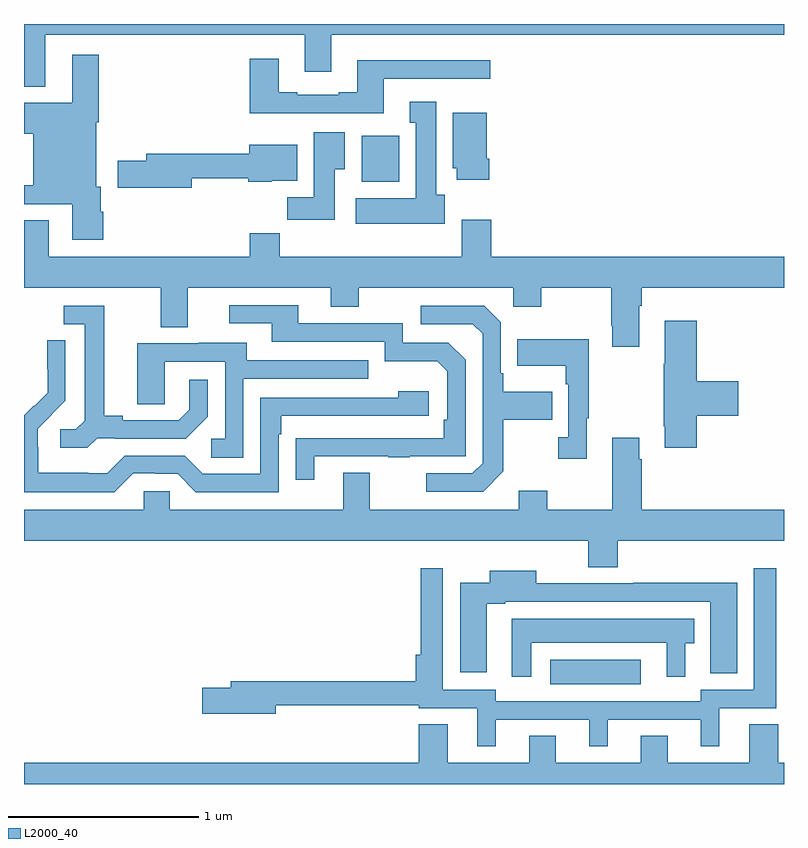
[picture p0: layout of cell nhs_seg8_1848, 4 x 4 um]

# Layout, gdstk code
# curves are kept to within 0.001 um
import gdstk
lib = gdstk.Library(unit=1e-6, precision=1e-09)
def R(c, l, rs):  # rectangles x0, y0, x1, y1
    for r in rs: c.add(gdstk.rectangle(r[:2], r[2:], *l))
def P(c, l, *ps):  # polygons
    for p in ps: c.add(gdstk.Polygon(p, *l))
L2000_40 = (2000, 40)

nhs_seg8_1848 = lib.new_cell('nhs_seg8_1848')
R(nhs_seg8_1848, L2000_40, [(231.771,1102.424,232.246,1102.555), (230.777,1105.07,230.974,1105.312)])
P(nhs_seg8_1848, L2000_40, [(229.111,1105.844),(230.477,1105.844),(230.477,1105.65),(230.617,1105.65),(230.617,1105.844),(233,1105.844),(233,1105.9),(229,1105.9),(229,1105.571),(229.111,1105.571)],
  [(229.418,1104.911),(229.405,1104.911),(229.405,1105.044),(229.381,1105.044),(229.381,1105.382),(229.394,1105.382),(229.394,1105.738),(229.253,1105.738),(229.253,1105.486),(229,1105.486),(229,1105.322),(229.049,1105.322),(229.049,1105.052),(229,1105.052),(229,1104.951),(229.253,1104.951),(229.253,1104.765),(229.418,1104.765)],
  [(230.429,1105.431),(230.893,1105.431),(230.893,1105.611),(231.454,1105.611),(231.454,1105.708),(230.753,1105.708),(230.753,1105.54),(230.657,1105.54),(230.657,1105.527),(230.437,1105.527),(230.437,1105.54),(230.341,1105.54),(230.341,1105.717),(230.189,1105.717),(230.189,1105.43),(230.429,1105.43)],
  [(231.214,1105.002),(231.169,1105.002),(231.169,1105.492),(231.029,1105.492),(231.029,1105.379),(231.062,1105.379),(231.062,1104.982),(230.745,1104.982),(230.745,1104.848),(231.214,1104.848)],
  [(231.449,1105.192),(231.436,1105.192),(231.436,1105.432),(231.257,1105.432),(231.257,1105.14),(231.278,1105.14),(231.278,1105.08),(231.449,1105.08)],
  [(230.635,1105.136),(230.689,1105.136),(230.689,1105.33),(230.525,1105.33),(230.525,1104.988),(230.386,1104.988),(230.386,1104.87),(230.635,1104.87)],
  [(229.882,1105.089),(230.179,1105.089),(230.179,1105.07),(230.304,1105.07),(230.304,1105.076),(230.437,1105.076),(230.437,1105.264),(230.186,1105.264),(230.186,1105.217),(229.643,1105.217),(229.643,1105.181),(229.494,1105.181),(229.494,1105.039),(229.882,1105.039)],
  [(231.458,1104.871),(231.305,1104.871),(231.305,1104.676),(230.345,1104.676),(230.345,1104.8),(230.189,1104.8),(230.189,1104.676),(229.129,1104.676),(229.129,1104.866),(229,1104.866),(229,1104.512),(229.721,1104.512),(229.721,1104.304),(229.861,1104.304),(229.861,1104.512),(230.615,1104.512),(230.615,1104.413),(230.763,1104.413),(230.763,1104.512),(231.576,1104.512),(231.576,1104.413),(231.723,1104.413),(231.723,1104.512),(232.09,1104.512),(232.09,1104.313),(232.097,1104.313),(232.097,1104.201),(232.237,1104.201),(232.237,1104.416),(232.25,1104.416),(232.25,1104.512),(233,1104.512),(233,1104.676),(231.458,1104.676)],
  [(230.527,1103.625),(230.917,1103.625),(230.917,1103.62),(231.029,1103.62),(231.029,1103.625),(231.324,1103.625),(231.324,1104.132),(231.234,1104.222),(230.994,1104.222),(230.994,1104.324),(230.443,1104.324),(230.443,1104.42),(230.079,1104.42),(230.079,1104.324),(230.303,1104.324),(230.303,1104.228),(230.898,1104.228),(230.898,1104.125),(231.175,1104.125),(231.228,1104.072),(231.228,1103.818),(231.208,1103.818),(231.208,1103.721),(230.431,1103.72),(230.431,1103.502),(230.527,1103.502)],
  [(229.386,1103.721),(229.48,1103.721),(229.48,1103.718),(229.852,1103.718),(229.968,1103.834),(229.968,1104.028),(229.871,1104.028),(229.871,1103.871),(229.814,1103.814),(229.519,1103.814),(229.519,1103.837),(229.423,1103.837),(229.423,1104.417),(229.209,1104.417),(229.209,1104.321),(229.319,1104.321),(229.319,1103.813),(229.272,1103.766),(229.191,1103.766),(229.191,1103.669),(229.334,1103.669)],
  [(231.523,1103.545),(231.523,1103.818),(231.779,1103.818),(231.779,1103.965),(231.523,1103.965),(231.523,1104.061),(231.51,1104.061),(231.51,1104.33),(231.423,1104.417),(231.087,1104.417),(231.087,1104.321),(231.363,1104.321),(231.414,1104.27),(231.414,1103.589),(231.36,1103.535),(231.117,1103.535),(231.117,1103.439),(231.417,1103.439)],
  [(232.541,1103.837),(232.759,1103.837),(232.759,1104.02),(232.541,1104.02),(232.541,1104.337),(232.373,1104.337),(232.373,1104.113),(232.366,1104.113),(232.366,1103.782),(232.373,1103.782),(232.373,1103.67),(232.541,1103.67)],
  [(231.961,1103.825),(231.973,1103.825),(231.973,1104.241),(231.595,1104.241),(231.595,1104.101),(231.852,1104.101),(231.852,1104.005),(231.864,1104.005),(231.864,1103.726),(231.813,1103.726),(231.813,1103.613),(231.961,1103.613)],
  [(229.575,1103.535),(229.691,1103.535),(229.691,1103.532),(229.809,1103.532),(229.905,1103.436),(230.34,1103.436),(230.34,1103.741),(230.353,1103.741),(230.353,1103.838),(231.13,1103.838),(231.13,1103.968),(230.969,1103.968),(230.969,1103.934),(230.244,1103.934),(230.244,1103.532),(229.941,1103.532),(229.845,1103.628),(229.53,1103.628),(229.437,1103.535),(229.337,1103.535),(229.337,1103.539),(229.074,1103.539),(229.074,1103.673),(229.072,1103.673),(229.072,1103.77),(229.218,1103.918),(229.218,1104.236),(229.122,1104.236),(229.122,1104.082),(229.124,1104.082),(229.124,1103.96),(229.053,1103.889),(229.05,1103.892),(229,1103.842),(229,1103.435),(229.475,1103.435)],
  [(230.154,1104.033),(230.813,1104.033),(230.813,1104.129),(230.173,1104.129),(230.173,1104.223),(229.919,1104.223),(229.919,1104.219),(229.595,1104.219),(229.595,1103.899),(229.74,1103.899),(229.74,1104.123),(230.058,1104.123),(230.058,1103.718),(229.986,1103.718),(229.986,1103.617),(230.154,1103.617)],
  [(232.124,1103.18),(233,1103.18),(233,1103.344),(232.25,1103.344),(232.25,1103.609),(232.237,1103.609),(232.237,1103.722),(232.097,1103.722),(232.097,1103.344),(231.753,1103.344),(231.753,1103.443),(231.605,1103.443),(231.605,1103.344),(230.821,1103.344),(230.821,1103.539),(230.681,1103.539),(230.681,1103.344),(229.767,1103.344),(229.767,1103.442),(229.629,1103.442),(229.629,1103.344),(229,1103.344),(229,1103.18),(231.971,1103.18),(231.971,1103.041),(232.124,1103.041)],
  [(231.484,1102.239),(231.974,1102.239),(231.974,1102.098),(232.072,1102.098),(232.072,1102.239),(232.562,1102.239),(232.562,1102.098),(232.66,1102.098),(232.66,1102.299),(232.958,1102.299),(232.958,1103.035),(232.842,1103.035),(232.842,1102.395),(232.563,1102.395),(232.563,1102.335),(231.483,1102.335),(231.483,1102.395),(231.204,1102.395),(231.204,1103.035),(231.088,1103.035),(231.088,1102.579),(231.062,1102.579),(231.062,1102.442),(230.087,1102.442),(230.087,1102.406),(229.938,1102.406),(229.938,1102.271),(230.326,1102.271),(230.326,1102.314),(231.078,1102.314),(231.078,1102.299),(231.386,1102.299),(231.386,1102.098),(231.484,1102.098)],
  [(232.753,1102.959),(232.207,1102.959),(232.207,1102.956),(231.697,1102.956),(231.697,1103.023),(231.452,1103.023),(231.452,1102.959),(231.296,1102.959),(231.296,1102.488),(231.436,1102.488),(231.436,1102.848),(231.532,1102.848),(231.532,1102.86),(232.613,1102.86),(232.613,1102.482),(232.753,1102.482)],
  [(231.67,1102.643),(232.382,1102.643),(232.382,1102.464),(232.48,1102.464),(232.48,1102.642),(232.528,1102.642),(232.528,1102.771),(231.566,1102.771),(231.566,1102.464),(231.67,1102.464)],
  [(233,1102.012),(232.97,1102.012),(232.97,1102.214),(232.817,1102.214),(232.817,1102.012),(232.387,1102.012),(232.387,1102.154),(232.247,1102.154),(232.247,1102.012),(231.799,1102.012),(231.799,1102.154),(231.659,1102.154),(231.659,1102.012),(231.229,1102.012),(231.229,1102.214),(231.077,1102.214),(231.077,1102.012),(229,1102.012),(229,1101.9),(233,1101.9)])

lib.write_gds('nhs_seg8_1848.gds')
